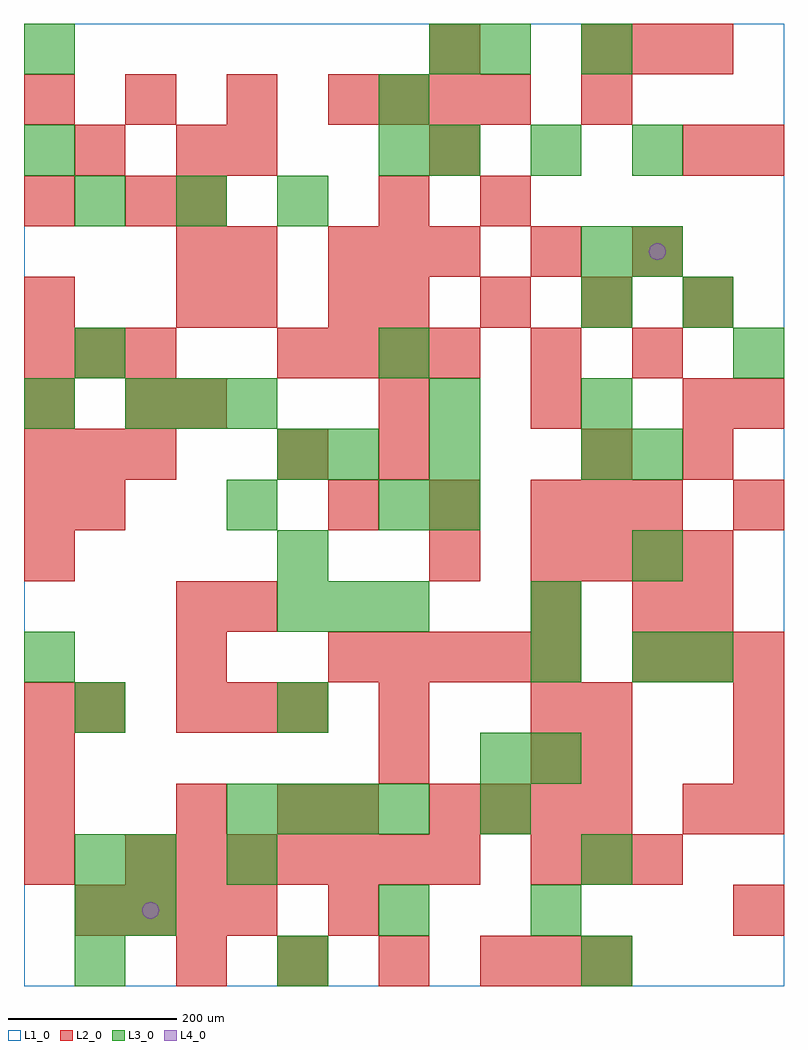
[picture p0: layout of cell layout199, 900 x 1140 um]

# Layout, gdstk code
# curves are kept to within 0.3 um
import gdstk
lib = gdstk.Library(unit=1e-6, precision=1e-09)
def R(c, l, rs):  # rectangles x0, y0, x1, y1
    for r in rs: c.add(gdstk.rectangle(r[:2], r[2:], *l))
def A(c, l, x, y, w, h, nx, ny, dx, dy):  # array of equal rectangles
    R(c, l, [(x+i*dx, y+j*dy, x+i*dx+w, y+j*dy+h) for i in range(nx) for j in range(ny)])
def P(c, l, *ps):  # polygons
    for p in ps: c.add(gdstk.Polygon(p, *l))
L1_0 = (1, 0)
L2_0 = (2, 0)
L3_0 = (3, 0)
L4_0 = (4, 0)

layout199 = lib.new_cell('layout199')
R(layout199, L1_0, [(0,0,900,1140)])
A(layout199, L2_0, 180, 0, 60, 60, 4, 1, 120, 0)
A(layout199, L2_0, 60, 60, 60, 60, 4, 1, 60, 0)
A(layout199, L2_0, 0, 120, 60, 60, 1, 4, 0, 60)
A(layout199, L2_0, 120, 120, 60, 60, 7, 1, 60, 0)
A(layout199, L2_0, 600, 120, 60, 60, 3, 1, 60, 0)
A(layout199, L2_0, 480, 180, 60, 60, 4, 1, 60, 0)
A(layout199, L2_0, 840, 180, 60, 60, 1, 3, 0, 60)
A(layout199, L2_0, 180, 300, 60, 60, 3, 1, 60, 0)
A(layout199, L2_0, 420, 300, 60, 60, 1, 3, 0, 300)
A(layout199, L2_0, 360, 360, 60, 60, 5, 1, 60, 0)
A(layout199, L2_0, 720, 360, 60, 60, 3, 1, 60, 0)
A(layout199, L2_0, 600, 480, 60, 60, 4, 1, 60, 0)
A(layout199, L2_0, 0, 540, 60, 60, 1, 4, 0, 120)
A(layout199, L2_0, 360, 540, 60, 60, 3, 1, 120, 0)
A(layout199, L2_0, 0, 600, 60, 60, 3, 2, 60, 120)
A(layout199, L2_0, 420, 660, 60, 60, 3, 1, 180, 0)
A(layout199, L2_0, 300, 720, 60, 60, 4, 1, 60, 0)
A(layout199, L2_0, 180, 780, 60, 60, 1, 4, 0, 60)
A(layout199, L2_0, 420, 780, 60, 60, 4, 1, 120, 0)
A(layout199, L2_0, 360, 840, 60, 60, 3, 1, 60, 0)
A(layout199, L2_0, 0, 1020, 60, 60, 4, 1, 120, 0)
A(layout199, L2_0, 420, 1020, 60, 60, 3, 1, 60, 0)
A(layout199, L2_0, 660, 1080, 60, 60, 3, 1, 60, 0)
R(layout199, L2_0, [(600,0,660,60), (660,0,720,60), (360,60,420,120), (840,60,900,120), (180,180,240,240), (300,180,360,240), (360,180,420,240), (780,180,840,240), (420,240,480,300), (600,240,660,300), (660,240,720,300), (60,300,120,360), (600,300,660,360), (660,300,720,360), (180,360,240,420), (180,420,240,480), (240,420,300,480), (600,420,660,480), (720,420,780,480), (780,420,840,480), (0,480,60,540), (480,480,540,540), (60,540,120,600), (660,540,720,600), (720,540,780,600), (840,540,900,600), (300,600,360,660), (660,600,720,660), (780,600,840,660), (120,660,180,720), (180,660,240,720), (840,660,900,720), (600,720,660,780), (720,720,780,780), (240,780,300,840), (360,780,420,840), (240,840,300,900), (600,840,660,900), (720,840,780,900), (120,900,180,960), (540,900,600,960), (60,960,120,1020), (240,960,300,1020), (480,960,540,1020), (780,960,840,1020), (840,960,900,1020), (660,1020,720,1080), (480,1080,540,1140)])
A(layout199, L3_0, 60, 0, 60, 60, 1, 3, 0, 60)
A(layout199, L3_0, 240, 180, 60, 60, 4, 1, 60, 0)
A(layout199, L3_0, 0, 360, 60, 60, 1, 3, 0, 300)
A(layout199, L3_0, 720, 360, 60, 60, 1, 3, 0, 120)
A(layout199, L3_0, 300, 420, 60, 60, 3, 1, 60, 0)
A(layout199, L3_0, 480, 540, 60, 60, 1, 3, 0, 60)
A(layout199, L3_0, 120, 660, 60, 60, 3, 1, 60, 0)
A(layout199, L3_0, 60, 900, 60, 60, 3, 1, 120, 0)
A(layout199, L3_0, 480, 960, 60, 60, 3, 1, 120, 0)
R(layout199, L3_0, [(300,0,360,60), (660,0,720,60), (120,60,180,120), (420,60,480,120), (600,60,660,120), (120,120,180,180), (240,120,300,180), (660,120,720,180), (540,180,600,240), (540,240,600,300), (600,240,660,300), (60,300,120,360), (300,300,360,360), (600,360,660,420), (780,360,840,420), (600,420,660,480), (300,480,360,540), (240,540,300,600), (420,540,480,600), (300,600,360,660), (360,600,420,660), (660,600,720,660), (660,660,720,720), (60,720,120,780), (420,720,480,780), (840,720,900,780), (660,780,720,840), (780,780,840,840), (660,840,720,900), (720,840,780,900), (420,960,480,1020), (420,1020,480,1080), (0,1080,60,1140), (480,1080,540,1140), (540,1080,600,1140), (660,1080,720,1140)])
P(layout199, L4_0, [(160,90),(159.239,93.827),(157.071,97.071),(153.827,99.239),(150,100),(146.173,99.239),(142.929,97.071),(140.761,93.827),(140,90),(140.761,86.173),(142.929,82.929),(146.173,80.761),(150,80),(153.827,80.761),(157.071,82.929),(159.239,86.173)],
  [(760,870),(759.239,873.827),(757.071,877.071),(753.827,879.239),(750,880),(746.173,879.239),(742.929,877.071),(740.761,873.827),(740,870),(740.761,866.173),(742.929,862.929),(746.173,860.761),(750,860),(753.827,860.761),(757.071,862.929),(759.239,866.173)])

lib.write_gds('layout199.gds')
